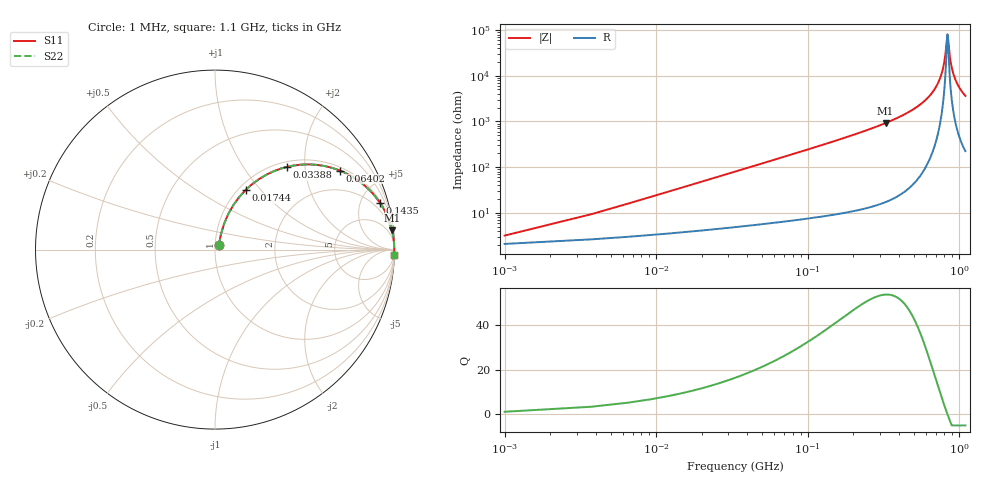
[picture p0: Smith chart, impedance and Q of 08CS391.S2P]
! Coilcraft 0805CS-391 Chip Inductor
! 11 June 2002
# MHZ S MA R 50
!Freq  MagS11  AngS11  MagS21  AngS21  MagS12  AngS12  MagS22  AngS22
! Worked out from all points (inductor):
!   403 points, 1 MHz to 1.1 GHz, reference 50 ohm
!   read as one part in series: L = 380 nH near 6.48 MHz
!   highest Q = 53.8 at 327.1 MHz (marker M1), where L = 448 nH
!   self-resonance near 836.7 MHz
!   S11 on the Smith chart (normalised r, x): 1 MHz: 1.04, +0.05; 17.44 MHz: 1.08, +0.83; 33.88 MHz: 1.10, +1.62; 64.02 MHz: 1.12, +3.08; 143.5 MHz: 1.18, +7.06; 1.1 GHz: 5, -72
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1  0.031 47.6  0.9794 -1.3  0.9794 -1.3  0.031 47.6
9.22  0.2108 69.6  0.9472 -12.0  0.9472 -12.0  0.2108 69.6
17.44  0.3737 62.8  0.8932 -21.8  0.8932 -21.8  0.3737 62.8
33.88  0.6125 48.9  0.7546 -37.7  0.7546 -37.7  0.6125 48.9
64.02  0.8235 32.3  0.5352 -55.4  0.5352 -55.4  0.8235 32.3
96.9  0.9097 22.8  0.3877 -65.4  0.3877 -65.4  0.9097 22.8
143.48  0.9559 15.7  0.2708 -72.9  0.2708 -72.9  0.9559 15.7
184.58  0.9731 12.1  0.21 -76.6  0.21 -76.6  0.9731 12.1
327.06  0.9922 6.2  0.1077 -82.8  0.1077 -82.8  0.9922 6.2
368.16  0.9941 5.2  0.09124 -83.7  0.09124 -83.7  0.9941 5.2
551.74  0.9979 2.5  0.0429 -86.0  0.0429 -86.0  0.9979 2.5
661.34  0.9986 1.4  0.02385 -85.9  0.02385 -85.9  0.9986 1.4
735.32  0.9988 0.7  0.01311 -84.2  0.01311 -84.2  0.9988 0.7
770.94  0.9988 0.5  0.008388 -81.5  0.008388 -81.5  0.9988 0.5
795.6  0.9988 0.3  0.005292 -76.7  0.005292 -76.7  0.9988 0.3
812.04  0.9988 0.2  0.003339 -68.5  0.003339 -68.5  0.9988 0.2
836.7  0.9988 0.0  0.001246 -5.7  0.001246 -5.7  0.9988 0.0
842.18  0.9988 -0.0  0.001354 22.9  0.001354 22.9  0.9988 -0.0
875.06  0.9987 -0.2  0.004539 73.2  0.004539 73.2  0.9987 -0.2
918.9  0.9986 -0.5  0.009341 81.1  0.009341 81.1  0.9986 -0.5
992.88  0.9984 -1.0  0.0171 84.0  0.0171 84.0  0.9984 -1.0
1100  0.9979 -1.6  0.02755 84.9  0.02755 84.9  0.9979 -1.6
